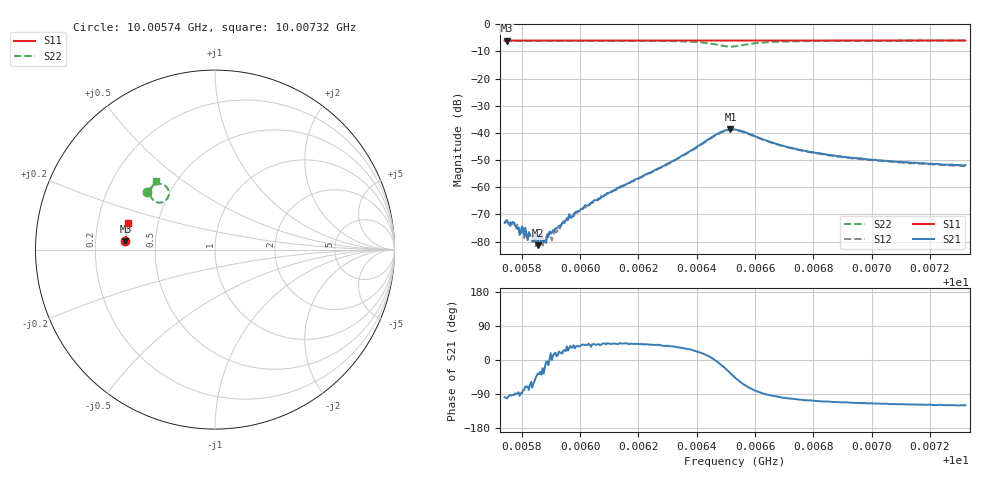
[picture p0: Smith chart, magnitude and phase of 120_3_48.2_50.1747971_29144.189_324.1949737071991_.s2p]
#  HZ  S  RI  R  50.00
! Rohde & Schwarz Vector Network Analyzer
! Rohde-Schwarz,ZNB20-2Port,1311601062101988,3.16
! Created: UTC 3/20/2024, 11:41:22 AM
! freq[Hz]  re:S11  im:S11  re:S21  im:S21  re:S12  im:S12  re:S22  im:S22
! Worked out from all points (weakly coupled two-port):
!   401 points, 10.00574 GHz to 10.00732 GHz, reference 50 ohm
!   highest |S21| = -38.59 dB at 10.00652 GHz (marker M1); lowest = -81.4 dB at 10.00586 GHz (marker M2)
!   lowest |S11| = -6.0 dB at 10.00575 GHz (marker M3), VSWR 3.01, Z = 16.7 + j2.05 ohm
!   |S11| at or under -10 dB: nowhere
!   |S22| runs from -8.2 to -6.0 dB; largest |S21 - S12| = 0.00081
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1.000574e10  -0.499 0.0458  -3.15e-05 -0.000219  -1.09e-05 -0.000238  -0.3794 0.3218
1.0005748e10  -0.4989 0.0461  -4.95e-05 -0.000243  -4.22e-05 -0.000242  -0.3789 0.3223
1.000578e10  -0.4988 0.0482  -1.45e-06 -0.00018  -1.64e-05 -0.000184  -0.3774 0.3243
1.0005788e10  -0.4987 0.0487  1.56e-05 -0.000183  2.38e-05 -0.000193  -0.3769 0.3248
1.0005808e10  -0.4988 0.05  2.49e-05 -0.000128  4.93e-05 -0.000104  -0.376 0.326
1.0005816e10  -0.4987 0.0505  4.48e-05 -0.000128  3.19e-05 -0.000119  -0.3756 0.3266
1.0005855e10  -0.4986 0.0532  6.95e-05 -4.91e-05  9.09e-05 -3.52e-05  -0.3735 0.3291
1.0005875e10  -0.4985 0.0545  8.17e-05 -5.88e-05  9.68e-05 -1.45e-05  -0.3723 0.3304
1.0005883e10  -0.4984 0.055  9.43e-05 -7.35e-06  0.000115 -2.17e-05  -0.3719 0.3308
1.000591e10  -0.4981 0.0567  0.000147 4.14e-05  0.000137 4.99e-05  -0.3703 0.3327
1.000595e10  -0.4978 0.0594  0.000221 9.42e-05  0.000225 0.00013  -0.368 0.3353
1.0006005e10  -0.4976 0.063  0.000305 0.00026  0.00027 0.000287  -0.3644 0.3391
1.0006092e10  -0.497 0.0685  0.000551 0.000535  0.000547 0.000564  -0.3579 0.3453
1.000627e10  -0.4954 0.0802  0.00174 0.00141  0.00165 0.00146  -0.3371 0.3597
1.0006428e10  -0.4937 0.0904  0.00674 0.00174  0.00645 0.00197  -0.2827 0.3588
1.000648e10  -0.4927 0.0934  0.01 -0.00183  0.00988 -0.00131  -0.2572 0.32
1.0006515e10  -0.4922 0.0952  0.00959 -0.00682  0.00961 -0.00602  -0.2714 0.277
1.0006531e10  -0.4923 0.0961  0.00802 -0.00838  0.00818 -0.00772  -0.2891 0.2653
1.0006618e10  -0.4922 0.1014  0.000571 -0.00794  0.000954 -0.00776  -0.3548 0.2898
1.0006796e10  -0.4903 0.113  -0.00132 -0.00422  -0.00111 -0.00418  -0.3563 0.338
1.0007061e10  -0.4866 0.1298  -0.00134 -0.0027  -0.00117 -0.00274  -0.3405 0.3637
1.0007322e10  -0.4826 0.1463  -0.00125 -0.00222  -0.00114 -0.00219  -0.3262 0.3801
